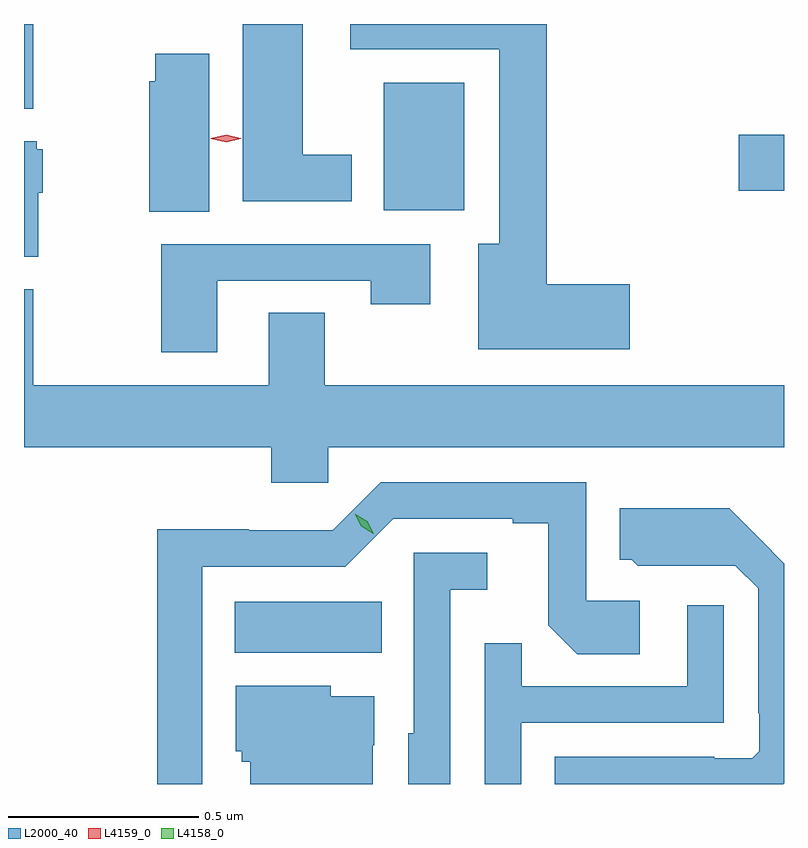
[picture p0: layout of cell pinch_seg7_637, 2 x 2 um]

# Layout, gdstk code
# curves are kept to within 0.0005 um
import gdstk
lib = gdstk.Library(unit=1e-6, precision=1e-09)
def R(c, l, rs):  # rectangles x0, y0, x1, y1
    for r in rs: c.add(gdstk.rectangle(r[:2], r[2:], *l))
def P(c, l, *ps):  # polygons
    for p in ps: c.add(gdstk.Polygon(p, *l))
L2000_40 = (2000, 40)
L4158_0 = (4158, 0)
L4159_0 = (4159, 0)

pinch_seg7_637 = lib.new_cell('pinch_seg7_637')
R(pinch_seg7_637, L2000_40, [(148.025,1024.052,148.412,1024.186), (148.418,1025.216,148.63,1025.551), (149.352,1025.267,149.471,1025.414), (147.471,1025.483,147.495,1025.706)])
P(pinch_seg7_637, L2000_40, [(149.065,1025.021),(148.847,1025.021),(148.847,1025.706),(148.329,1025.706),(148.329,1025.64),(148.721,1025.64),(148.721,1025.128),(148.667,1025.128),(148.667,1024.85),(149.065,1024.85)],
  [(148.333,1025.362),(148.204,1025.362),(148.204,1025.706),(148.046,1025.706),(148.046,1025.24),(148.333,1025.24)],
  [(147.958,1025.628),(147.817,1025.628),(147.817,1025.556),(147.8,1025.556),(147.8,1025.212),(147.958,1025.212)],
  [(147.508,1025.262),(147.52,1025.262),(147.52,1025.376),(147.504,1025.376),(147.504,1025.398),(147.471,1025.398),(147.471,1025.093),(147.508,1025.093)],
  [(147.979,1025.031),(148.384,1025.031),(148.384,1024.968),(148.54,1024.968),(148.54,1025.127),(147.832,1025.127),(147.832,1024.842),(147.979,1024.842)],
  [(148.272,1024.592),(149.471,1024.592),(149.471,1024.756),(148.263,1024.756),(148.263,1024.946),(148.115,1024.946),(148.115,1024.756),(147.495,1024.756),(147.495,1025.008),(147.471,1025.008),(147.471,1024.592),(148.121,1024.592),(148.121,1024.499),(148.272,1024.499)],
  [(147.94,1024.278),(148.317,1024.278),(148.443,1024.404),(148.757,1024.404),(148.757,1024.392),(148.851,1024.392),(148.851,1024.124),(148.927,1024.048),(149.092,1024.048),(149.092,1024.188),(148.95,1024.188),(148.95,1024.5),(148.41,1024.5),(148.284,1024.374),(148.062,1024.374),(148.062,1024.376),(147.822,1024.376),(147.822,1023.706),(147.94,1023.706)],
  [(149.471,1023.708),(149.471,1024.286),(149.327,1024.432),(149.039,1024.432),(149.039,1024.296),(149.07,1024.296),(149.086,1024.28),(149.22,1024.28),(149.22,1024.281),(149.343,1024.281),(149.403,1024.221),(149.403,1023.892),(149.406,1023.892),(149.406,1023.792),(149.388,1023.774),(149.288,1023.774),(149.288,1023.778),(148.868,1023.778),(148.868,1023.706),(149.469,1023.706)],
  [(148.593,1024.217),(148.69,1024.217),(148.69,1024.314),(148.497,1024.314),(148.497,1023.84),(148.482,1023.84),(148.482,1023.706),(148.593,1023.706)],
  [(148.779,1023.867),(149.313,1023.867),(149.313,1024.177),(149.217,1024.177),(149.217,1023.963),(148.781,1023.963),(148.781,1024.076),(148.683,1024.076),(148.683,1023.706),(148.779,1023.706)],
  [(148.389,1023.808),(148.393,1023.808),(148.393,1023.937),(148.278,1023.937),(148.278,1023.964),(148.028,1023.964),(148.028,1023.792),(148.044,1023.792),(148.044,1023.765),(148.067,1023.765),(148.067,1023.706),(148.389,1023.706)])
P(pinch_seg7_637, L4158_0, [(148.39,1024.365),(148.359,1024.384),(148.342,1024.417),(148.342,1024.417),(148.342,1024.417),(148.374,1024.398),(148.391,1024.365),(148.391,1024.365)])
P(pinch_seg7_637, L4159_0, [(148.003,1025.395),(147.963,1025.404),(147.963,1025.405),(147.963,1025.405),(148.003,1025.415),(148.042,1025.405),(148.043,1025.405),(148.042,1025.404)])

lib.write_gds('pinch_seg7_637.gds')
